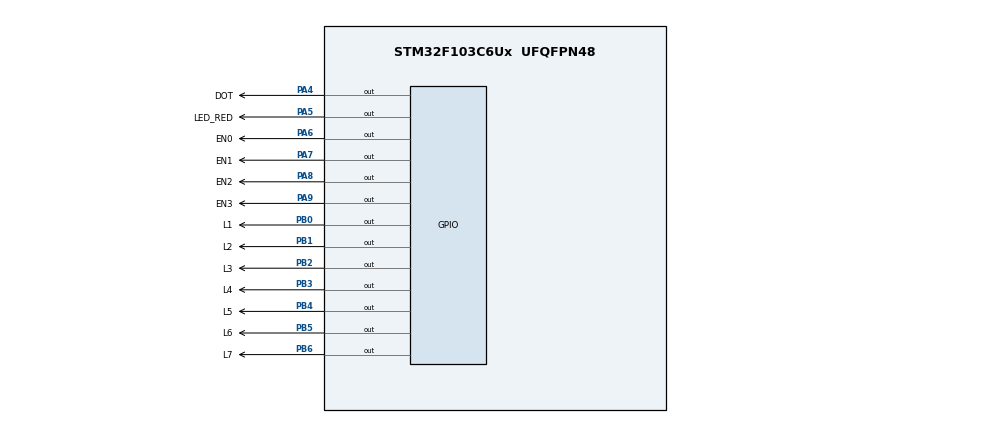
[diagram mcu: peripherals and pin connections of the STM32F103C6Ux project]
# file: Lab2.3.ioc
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Mcu.Family=STM32F1
Mcu.Name=STM32F103C6Ux
Mcu.Package=UFQFPN48
NVIC.PriorityGroup=NVIC_PRIORITYGROUP_4
NVIC.TIM2_IRQn=true\:0\:0\:false\:false\:true\:true\:true
PA4.GPIO_Label=DOT
PA4.Signal=GPIO_Output
PA5.GPIO_Label=LED_RED
PA5.Signal=GPIO_Output
PA6.GPIO_Label=EN0
PA6.Signal=GPIO_Output
PA7.GPIO_Label=EN1
PA7.Signal=GPIO_Output
PA8.GPIO_Label=EN2
PA8.Signal=GPIO_Output
PA9.GPIO_Label=EN3
PA9.Signal=GPIO_Output
PB0.GPIO_Label=L1
PB0.Signal=GPIO_Output
PB1.GPIO_Label=L2
PB1.Signal=GPIO_Output
PB2.GPIO_Label=L3
PB2.Signal=GPIO_Output
PB3.GPIO_Label=L4
PB3.Signal=GPIO_Output
PB4.GPIO_Label=L5
PB4.Signal=GPIO_Output
PB5.GPIO_Label=L6
PB5.Signal=GPIO_Output
PB6.GPIO_Label=L7
PB6.Signal=GPIO_Output
ProjectManager.HeapSize=0x200
ProjectManager.StackSize=0x400
ProjectManager.TargetToolchain=STM32CubeIDE
RCC.APB1Freq_Value=8000000
RCC.APB2Freq_Value=8000000
TIM2.Period=9
TIM2.Prescaler=7999
VP_SYS_VS_ND.Mode=No_Debug
VP_TIM2_VS_ClockSourceINT.Mode=Internal
board=custom

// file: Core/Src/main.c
/* USER CODE BEGIN Header */
/**
  ******************************************************************************
  * @file           : main.c
  * @brief          : Main program body
  ******************************************************************************
  * @attention
  *
  * <h2><center>&copy; Copyright (c) 2022 STMicroelectronics.
  * All rights reserved.</center></h2>
  *
  * This software component is licensed by ST under BSD 3-Clause license,
  * the "License"; You may not use this file except in compliance with the
  * License. You may obtain a copy of the License at:
  *                        opensource.org/licenses/BSD-3-Clause
  *
  ******************************************************************************
  */
/* USER CODE END Header */
#include "main.h"

/* USER CODE BEGIN Includes */
#include "timer.h"
/* USER CODE END Includes */

TIM_HandleTypeDef htim2;

void SystemClock_Config(void);
static void MX_GPIO_Init(void);
static void MX_TIM2_Init(void);

/* USER CODE BEGIN 0 */
//int kansjnasfjha;
/////hifhahfajfhajssfhasahf;
void display7SEG(int num){
	  HAL_GPIO_WritePin( L1_GPIO_Port , L1_Pin ,GPIO_PIN_SET );
	  HAL_GPIO_WritePin( L2_GPIO_Port , L2_Pin ,GPIO_PIN_SET );
	  HAL_GPIO_WritePin( L3_GPIO_Port , L3_Pin ,GPIO_PIN_SET );
	  HAL_GPIO_WritePin( L4_GPIO_Port , L4_Pin ,GPIO_PIN_SET );
	  HAL_GPIO_WritePin( L5_GPIO_Port , L5_Pin ,GPIO_PIN_SET );
	  HAL_GPIO_WritePin( L6_GPIO_Port , L6_Pin ,GPIO_PIN_SET );
	  HAL_GPIO_WritePin( L7_GPIO_Port , L7_Pin ,GPIO_PIN_SET );
	  if(num<=0){
		  HAL_GPIO_WritePin( L1_GPIO_Port , L1_Pin ,GPIO_PIN_RESET );
		  HAL_GPIO_WritePin( L2_GPIO_Port , L2_Pin ,GPIO_PIN_RESET );
		  HAL_GPIO_WritePin( L3_GPIO_Port , L3_Pin ,GPIO_PIN_RESET );
		  HAL_GPIO_WritePin( L4_GPIO_Port , L4_Pin ,GPIO_PIN_RESET );
		  HAL_GPIO_WritePin( L5_GPIO_Port , L5_Pin ,GPIO_PIN_RESET );
		  HAL_GPIO_WritePin( L6_GPIO_Port , L6_Pin ,GPIO_PIN_RESET );
	  }
	  else if(num==1){
		  HAL_GPIO_WritePin( L2_GPIO_Port , L2_Pin ,GPIO_PIN_RESET );
		  HAL_GPIO_WritePin( L3_GPIO_Port , L3_Pin ,GPIO_PIN_RESET );
	  }
	  else if(num==2){
		  HAL_GPIO_WritePin( L1_GPIO_Port , L1_Pin ,GPIO_PIN_RESET );
		  HAL_GPIO_WritePin( L2_GPIO_Port , L2_Pin ,GPIO_PIN_RESET );
		  HAL_GPIO_WritePin( L4_GPIO_Port , L4_Pin ,GPIO_PIN_RESET );
		  HAL_GPIO_WritePin( L5_GPIO_Port , L5_Pin ,GPIO_PIN_RESET );
		  HAL_GPIO_WritePin( L7_GPIO_Port , L7_Pin ,GPIO_PIN_RESET );
	  }
	  else if(num==3){
		  HAL_GPIO_WritePin( L1_GPIO_Port , L1_Pin ,GPIO_PIN_RESET );
		  HAL_GPIO_WritePin( L2_GPIO_Port , L2_Pin ,GPIO_PIN_RESET );
		  HAL_GPIO_WritePin( L3_GPIO_Port , L3_Pin ,GPIO_PIN_RESET );
		  HAL_GPIO_WritePin( L4_GPIO_Port , L4_Pin ,GPIO_PIN_RESET );
		  HAL_GPIO_WritePin( L7_GPIO_Port , L7_Pin ,GPIO_PIN_RESET );
	  }
	  else if(num==4){
		  HAL_GPIO_WritePin( L2_GPIO_Port , L2_Pin ,GPIO_PIN_RESET );
		  HAL_GPIO_WritePin( L3_GPIO_Port , L3_Pin ,GPIO_PIN_RESET );
		  HAL_GPIO_WritePin( L6_GPIO_Port , L6_Pin ,GPIO_PIN_RESET );
		  HAL_GPIO_WritePin( L7_GPIO_Port , L7_Pin ,GPIO_PIN_RESET );
	  }
	  else if(num==5){
		  HAL_GPIO_WritePin( L1_GPIO_Port , L1_Pin ,GPIO_PIN_RESET );
		  HAL_GPIO_WritePin( L3_GPIO_Port , L3_Pin ,GPIO_PIN_RESET );
		  HAL_GPIO_WritePin( L4_GPIO_Port , L4_Pin ,GPIO_PIN_RESET );
		  HAL_GPIO_WritePin( L6_GPIO_Port , L6_Pin ,GPIO_PIN_RESET );
		  HAL_GPIO_WritePin( L7_GPIO_Port , L7_Pin ,GPIO_PIN_RESET );
	  }
	  else if(num==6){
		  HAL_GPIO_WritePin( L1_GPIO_Port , L1_Pin ,GPIO_PIN_RESET );
		  HAL_GPIO_WritePin( L3_GPIO_Port , L3_Pin ,GPIO_PIN_RESET );
		  HAL_GPIO_WritePin( L4_GPIO_Port , L4_Pin ,GPIO_PIN_RESET );
		  HAL_GPIO_WritePin( L5_GPIO_Port , L5_Pin ,GPIO_PIN_RESET );
		  HAL_GPIO_WritePin( L6_GPIO_Port , L6_Pin ,GPIO_PIN_RESET );
		  HAL_GPIO_WritePin( L7_GPIO_Port , L7_Pin ,GPIO_PIN_RESET );
	  }
	  else if(num==7){
		  HAL_GPIO_WritePin( L1_GPIO_Port , L1_Pin ,GPIO_PIN_RESET );
		  HAL_GPIO_WritePin( L2_GPIO_Port , L2_Pin ,GPIO_PIN_RESET );
		  HAL_GPIO_WritePin( L3_GPIO_Port , L3_Pin ,GPIO_PIN_RESET );
	  }
	  else if(num==8){
		  HAL_GPIO_WritePin( L1_GPIO_Port , L1_Pin ,GPIO_PIN_RESET );
		  HAL_GPIO_WritePin( L2_GPIO_Port , L2_Pin ,GPIO_PIN_RESET );
		  HAL_GPIO_WritePin( L3_GPIO_Port , L3_Pin ,GPIO_PIN_RESET );
		  HAL_GPIO_WritePin( L4_GPIO_Port , L4_Pin ,GPIO_PIN_RESET );
		  HAL_GPIO_WritePin( L5_GPIO_Port , L5_Pin ,GPIO_PIN_RESET );
		  HAL_GPIO_WritePin( L6_GPIO_Port , L6_Pin ,GPIO_PIN_RESET );
		  HAL_GPIO_WritePin( L7_GPIO_Port , L7_Pin ,GPIO_PIN_RESET );
	  }
	  else if(num==9){
		  HAL_GPIO_WritePin( L1_GPIO_Port , L1_Pin ,GPIO_PIN_RESET );
		  HAL_GPIO_WritePin( L2_GPIO_Port , L2_Pin ,GPIO_PIN_RESET );
		  HAL_GPIO_WritePin( L3_GPIO_Port , L3_Pin ,GPIO_PIN_RESET );
		  HAL_GPIO_WritePin( L4_GPIO_Port , L4_Pin ,GPIO_PIN_RESET );
		  HAL_GPIO_WritePin( L6_GPIO_Port , L6_Pin ,GPIO_PIN_RESET );
		  HAL_GPIO_WritePin( L7_GPIO_Port , L7_Pin ,GPIO_PIN_RESET );
	  }
}
const int MAX_LED = 4;
int led_buffer[4] = {1 , 2 , 3 , 4};
   void update7SEG( int index ) {
	   switch ( index ){
	   	   case 0:
	   		   // Display the first 7 SEG with led_buffer [0]
	   		HAL_GPIO_WritePin(EN0_GPIO_Port, EN0_Pin, RESET);
	   		HAL_GPIO_WritePin(EN1_GPIO_Port, EN1_Pin, SET);
	   		HAL_GPIO_WritePin(EN2_GPIO_Port, EN2_Pin, SET);
	   		HAL_GPIO_WritePin(EN3_GPIO_Port, EN3_Pin, SET);
	   		 display7SEG(led_buffer[0]);
	   		   break ;
	   	   case 1:
	   		   // Display the second 7 SEG with led_buffer [1]
	   		 HAL_GPIO_WritePin(EN0_GPIO_Port, EN0_Pin, SET);
	   		 HAL_GPIO_WritePin(EN1_GPIO_Port, EN1_Pin, RESET);
	   		 HAL_GPIO_WritePin(EN2_GPIO_Port, EN2_Pin, SET);
	   		 HAL_GPIO_WritePin(EN3_GPIO_Port, EN3_Pin, SET);
	   		display7SEG(led_buffer[1]);
	   		   break ;
	   	   case 2:
	   		   // Display the third 7 SEG with led_buffer [2]
	   		HAL_GPIO_WritePin(EN0_GPIO_Port, EN0_Pin, SET);
	   		HAL_GPIO_WritePin(EN1_GPIO_Port, EN1_Pin, SET);
	   		HAL_GPIO_WritePin(EN2_GPIO_Port, EN2_Pin, RESET);
	   		HAL_GPIO_WritePin(EN3_GPIO_Port, EN3_Pin, SET);
	   		display7SEG(led_buffer[2]);
	   		   break ;
	   	   case 3:
	   		   // Display the forth 7 SEG with led_buffer [3]
	   		 HAL_GPIO_WritePin(EN0_GPIO_Port, EN0_Pin, SET);
	   		 HAL_GPIO_WritePin(EN1_GPIO_Port, EN1_Pin, SET);
	   		 HAL_GPIO_WritePin(EN2_GPIO_Port, EN2_Pin, SET);
	   		 HAL_GPIO_WritePin(EN3_GPIO_Port, EN3_Pin, RESET);
	   		display7SEG(led_buffer[3]);
	   		   break ;
	   	   default :
	   		   break ;
	   }
   }
/* USER CODE END 0 */

int main(void)
{

  /* MCU Configuration--------------------------------------------------------*/

  /* Reset of all peripherals, Initializes the Flash interface and the Systick. */
  HAL_Init();

  /* Configure the system clock */
  SystemClock_Config();

  /* Initialize all configured peripherals */
  MX_GPIO_Init();
  MX_TIM2_Init();

  /* Infinite loop */
  /* USER CODE BEGIN WHILE */
  HAL_TIM_Base_Start_IT(&htim2);
  int index = 0;
   setTimer1(50); // Ex4 change timer1=25 (250ms)
   setTimer2(100);
  // int count=1;
   //HAL_GPIO_WritePin(DOT_GPIO_Port, DOT_Pin, SET);
  while (1)
  {
	  if(timer1_flag==1){
		  setTimer1(50);
		  //TODO
		  // LED_RED 0.5s blink 1 time
		  if(index%2==0) HAL_GPIO_WritePin(LED_RED_GPIO_Port, LED_RED_Pin, SET);
		  else HAL_GPIO_WritePin(LED_RED_GPIO_Port, LED_RED_Pin, RESET);

		  update7SEG(index);
		  index++;
		  if(index >= 4) index = 0;
	  }
	  // DOT 1s blink 1 time

	  if(timer2_flag==1){
		  setTimer2(100);
		  HAL_GPIO_TogglePin(DOT_GPIO_Port, DOT_Pin);
		//  if(count) HAL_GPIO_WritePin(DOT_GPIO_Port, DOT_Pin, SET);
		//  else HAL_GPIO_WritePin(DOT_GPIO_Port, DOT_Pin, RESET);
		  //count =1-count;

	  }
    /* USER CODE END WHILE */

  }
}

void SystemClock_Config(void)
{
  RCC_OscInitTypeDef RCC_OscInitStruct = {0};
  RCC_ClkInitTypeDef RCC_ClkInitStruct = {0};

  /** Initializes the RCC Oscillators according to the specified parameters
  * in the RCC_OscInitTypeDef structure.
  */
  RCC_OscInitStruct.OscillatorType = RCC_OSCILLATORTYPE_HSI;
  RCC_OscInitStruct.HSIState = RCC_HSI_ON;
  RCC_OscInitStruct.HSICalibrationValue = RCC_HSICALIBRATION_DEFAULT;
  RCC_OscInitStruct.PLL.PLLState = RCC_PLL_NONE;
  if (HAL_RCC_OscConfig(&RCC_OscInitStruct) != HAL_OK)
  {
    Error_Handler();
  }
  /** Initializes the CPU, AHB and APB buses clocks
  */
  RCC_ClkInitStruct.ClockType = RCC_CLOCKTYPE_HCLK|RCC_CLOCKTYPE_SYSCLK
                              |RCC_CLOCKTYPE_PCLK1|RCC_CLOCKTYPE_PCLK2;
  RCC_ClkInitStruct.SYSCLKSource = RCC_SYSCLKSOURCE_HSI;
  RCC_ClkInitStruct.AHBCLKDivider = RCC_SYSCLK_DIV1;
  RCC_ClkInitStruct.APB1CLKDivider = RCC_HCLK_DIV1;
  RCC_ClkInitStruct.APB2CLKDivider = RCC_HCLK_DIV1;

  if (HAL_RCC_ClockConfig(&RCC_ClkInitStruct, FLASH_LATENCY_0) != HAL_OK)
  {
    Error_Handler();
  }
}

static void MX_TIM2_Init(void)
{

  TIM_ClockConfigTypeDef sClockSourceConfig = {0};
  TIM_MasterConfigTypeDef sMasterConfig = {0};

  htim2.Instance = TIM2;
  htim2.Init.Prescaler = 7999;
  htim2.Init.CounterMode = TIM_COUNTERMODE_UP;
  htim2.Init.Period = 9;
  htim2.Init.ClockDivision = TIM_CLOCKDIVISION_DIV1;
  htim2.Init.AutoReloadPreload = TIM_AUTORELOAD_PRELOAD_DISABLE;
  if (HAL_TIM_Base_Init(&htim2) != HAL_OK)
  {
    Error_Handler();
  }
  sClockSourceConfig.ClockSource = TIM_CLOCKSOURCE_INTERNAL;
  if (HAL_TIM_ConfigClockSource(&htim2, &sClockSourceConfig) != HAL_OK)
  {
    Error_Handler();
  }
  sMasterConfig.MasterOutputTrigger = TIM_TRGO_RESET;
  sMasterConfig.MasterSlaveMode = TIM_MASTERSLAVEMODE_DISABLE;
  if (HAL_TIMEx_MasterConfigSynchronization(&htim2, &sMasterConfig) != HAL_OK)
  {
    Error_Handler();
  }

}

static void MX_GPIO_Init(void)
{
  GPIO_InitTypeDef GPIO_InitStruct = {0};

  /* GPIO Ports Clock Enable */
  __HAL_RCC_GPIOA_CLK_ENABLE();
  __HAL_RCC_GPIOB_CLK_ENABLE();

  /*Configure GPIO pin Output Level */
  HAL_GPIO_WritePin(GPIOA, DOT_Pin|LED_RED_Pin|EN0_Pin|EN1_Pin
                          |EN2_Pin|EN3_Pin, GPIO_PIN_RESET);

  /*Configure GPIO pin Output Level */
  HAL_GPIO_WritePin(GPIOB, L1_Pin|L2_Pin|L3_Pin|L4_Pin
                          |L5_Pin|L6_Pin|L7_Pin, GPIO_PIN_RESET);

  /*Configure GPIO pins : DOT_Pin LED_RED_Pin EN0_Pin EN1_Pin
                           EN2_Pin EN3_Pin */
  GPIO_InitStruct.Pin = DOT_Pin|LED_RED_Pin|EN0_Pin|EN1_Pin
                          |EN2_Pin|EN3_Pin;
  GPIO_InitStruct.Mode = GPIO_MODE_OUTPUT_PP;
  GPIO_InitStruct.Pull = GPIO_NOPULL;
  GPIO_InitStruct.Speed = GPIO_SPEED_FREQ_LOW;
  HAL_GPIO_Init(GPIOA, &GPIO_InitStruct);

  /*Configure GPIO pins : L1_Pin L2_Pin L3_Pin L4_Pin
                           L5_Pin L6_Pin L7_Pin */
  GPIO_InitStruct.Pin = L1_Pin|L2_Pin|L3_Pin|L4_Pin
                          |L5_Pin|L6_Pin|L7_Pin;
  GPIO_InitStruct.Mode = GPIO_MODE_OUTPUT_PP;
  GPIO_InitStruct.Pull = GPIO_NOPULL;
  GPIO_InitStruct.Speed = GPIO_SPEED_FREQ_LOW;
  HAL_GPIO_Init(GPIOB, &GPIO_InitStruct);

}

/* USER CODE BEGIN 4 */
void HAL_TIM_PeriodElapsedCallback(TIM_HandleTypeDef *htim){
	timerRun();
}
/* USER CODE END 4 */

void Error_Handler(void)
{
  __disable_irq();
  while (1)
  {
  }
}

/************************ (C) COPYRIGHT STMicroelectronics *****END OF FILE****/
